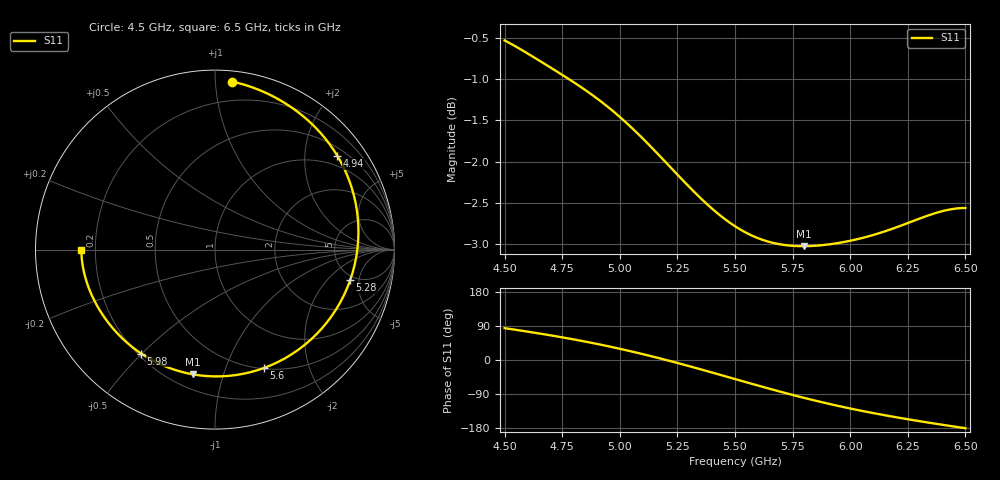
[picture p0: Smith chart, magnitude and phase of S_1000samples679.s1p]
! TOUCHSTONE file generated by CST MICROWAVE STUDIO
! Date and time: Sat Oct 29 00:21:23 2022
! Project name: L.cst
! Parameters = {Di=1.27; Epsilon_r=1.56; InnerDiameter=1.27; Length=2; Lf=10; Lg=60; OuterConductorThickness=0.2921; OuterDiameter=3.6; Wf=3; Wp=41.2; de=1.5; df=6.8; g=0.8; gx=4.89098; gy=1.57449; h=2.34; hf=1.524; px=12.7382; py=8.55238; w=9.7; wx=7.84725; wy=6.97789}
! Header version: 2018
! Port assignment regex: !\s*Touchstone port\s*([0-9]+)\s*=\s*(CST MWS port|CST DS port)\s*([0-9]+|Zmin|Zmax)\s*\(\"(.*)\"\)(\s*mode\s*([0-9]+))?.*
! Touchstone port assignment:
! Touchstone port 1 = CST MWS port 1 ("")
# GHz S DB R 50
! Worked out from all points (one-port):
!   101 points, 4.5 GHz to 6.5 GHz, reference 50 ohm
!   lowest |S11| = -3.0 dB at 5.8 GHz (marker M1), VSWR 5.80, Z = 14.4 - j39.9 ohm
!   |S11| at or under -10 dB: nowhere
!   S11 on the Smith chart (normalised r, x): 4.5 GHz: 0.07, +1.11; 4.94 GHz: 0.70, +2.79; 5.28 GHz: 4.49, -3.79; 5.6 GHz: 0.51, -1.37; 5.98 GHz: 0.21, -0.50; 6.5 GHz: 0.15, -0.00
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4.5  -0.53 84.1
4.56  -0.63 78.6
4.64  -0.76 71.0
4.76  -0.97 58.7
4.86  -1.15 47.4
4.94  -1.32 37.5
5  -1.46 29.6
5.08  -1.67 18.4
5.14  -1.84 9.4
5.2  -2.01 0.2
5.26  -2.19 -9.5
5.28  -2.25 -12.8
5.32  -2.36 -19.4
5.38  -2.52 -29.6
5.44  -2.66 -39.9
5.5  -2.78 -50.3
5.56  -2.88 -60.6
5.6  -2.93 -67.5
5.68  -2.99 -80.9
5.76  -3.02 -93.7
5.8  -3.02 -99.9
5.88  -3.01 -111.8
5.98  -2.97 -125.4
6  -2.96 -128.0
6.12  -2.87 -142.4
6.26  -2.73 -157.3
6.38  -2.62 -169.0
6.5  -2.56 -180.0
